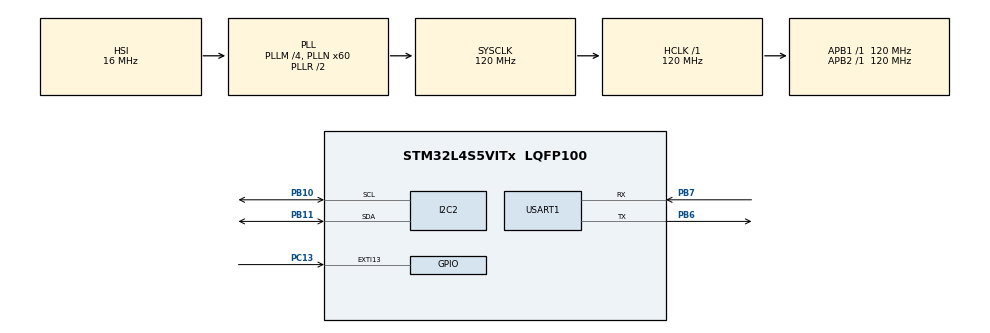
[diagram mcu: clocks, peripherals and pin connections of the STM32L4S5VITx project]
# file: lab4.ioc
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I2C2.Timing=0x00303D5B
Mcu.Family=STM32L4
Mcu.Name=STM32L4S5VITx
Mcu.Package=LQFP100
NVIC.EXTI15_10_IRQn=true\:0\:0\:false\:false\:true\:true\:true\:true
NVIC.PriorityGroup=NVIC_PRIORITYGROUP_4
NVIC.TIM2_IRQn=true\:0\:0\:false\:false\:true\:true\:true\:true
PA13\ (JTMS/SWDIO).Mode=Trace_Asynchronous_SW
PA13\ (JTMS/SWDIO).Signal=SYS_JTMS-SWDIO
PA14\ (JTCK/SWCLK).Mode=Trace_Asynchronous_SW
PA14\ (JTCK/SWCLK).Signal=SYS_JTCK-SWCLK
PB10.Mode=I2C
PB10.Signal=I2C2_SCL
PB11.Mode=I2C
PB11.Signal=I2C2_SDA
PB3\ (JTDO/TRACESWO).Mode=Trace_Asynchronous_SW
PB3\ (JTDO/TRACESWO).Signal=SYS_JTDO-SWO
PB6.Mode=Asynchronous
PB6.Signal=USART1_TX
PB7.Mode=Asynchronous
PB7.Signal=USART1_RX
PC13.Signal=GPXTI13
ProjectManager.HeapSize=0x200
ProjectManager.StackSize=0x400
ProjectManager.TargetToolchain=STM32CubeIDE
RCC.ADCFreq_Value=192000000
RCC.AHBFreq_Value=120000000
RCC.APB1Freq_Value=120000000
RCC.APB1TimFreq_Value=120000000
RCC.APB2Freq_Value=120000000
RCC.APB2TimFreq_Value=120000000
RCC.CortexFreq_Value=120000000
RCC.HCLKFreq_Value=120000000
RCC.HSE_VALUE=8000000
RCC.HSI48_VALUE=48000000
RCC.HSI_VALUE=16000000
RCC.I2C2CLockSelection=RCC_I2C2CLKSOURCE_HSI
RCC.LSE_VALUE=32768
RCC.MSI_VALUE=4000000
RCC.PLLM1=4
RCC.PLLN=60
RCC.PLLSAI1N=24
RCC.PLLSourceVirtual=RCC_PLLSOURCE_HSI
RCC.SYSCLKFreq_VALUE=120000000
RCC.SYSCLKSource=RCC_SYSCLKSOURCE_PLLCLK
RCC.USART1CLockSelection=RCC_USART1CLKSOURCE_HSI
RCC.USBFreq_Value=192000000
RCC.VCOOutputFreq_Value=240000000
TIM2.Period=10000
TIM2.Prescaler=1200
USART1.VirtualMode-Asynchronous=VM_ASYNC
VP_TIM2_VS_ClockSourceINT.Mode=Internal
board=B-L4S5I-IOT01A

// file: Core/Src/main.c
/* USER CODE BEGIN Header */
/**
  ******************************************************************************
  * @file           : main.c
  * @brief          : Main program body
  ******************************************************************************
  * @attention
  *
  * Copyright (c) 2022 STMicroelectronics.
  * All rights reserved.
  *
  * This software is licensed under terms that can be found in the LICENSE file
  * in the root directory of this software component.
  * If no LICENSE file comes with this software, it is provided AS-IS.
  *
  ******************************************************************************
  */
/* USER CODE END Header */
#include "main.h"

 I2C_HandleTypeDef hi2c2;

TIM_HandleTypeDef htim2;

UART_HandleTypeDef huart1;

/* USER CODE BEGIN PV */
char uart_buffer[100];
int16_t magneto_value[3];
uint8_t cur_sensor;

uint32_t temp_status;
uint32_t humid_status;
uint32_t pres_status;
MAGNETO_StatusTypeDef mag_status;
/* USER CODE END PV */

void SystemClock_Config(void);
static void MX_GPIO_Init(void);
static void MX_I2C2_Init(void);
static void MX_TIM2_Init(void);
static void MX_USART1_UART_Init(void);
/* USER CODE BEGIN PFP */
static uint16_t str_buffer_size(void);
/* USER CODE END PFP */

/* USER CODE BEGIN 0 */
void HAL_GPIO_EXTI_Callback(uint16_t GPIO_Pin) {
	if (GPIO_Pin == GPIO_PIN_13) {
		cur_sensor++;
		if (cur_sensor >= 4) {
			cur_sensor = 0;
		}
	}
}

void HAL_TIM_PeriodElapsedCallback(TIM_HandleTypeDef * htim) {
	if (htim->Instance == TIM2) {
		memset(uart_buffer, 0, 100);
		switch (cur_sensor) {
		case 0: {
			// temp
			float temp_reading = BSP_TSENSOR_ReadTemp();
			sprintf(uart_buffer, "Temperature: %f \r\n", temp_reading);
		} break;

		case 1: {
			// humidity
			float humid_reading = BSP_HSENSOR_ReadHumidity();
			sprintf(uart_buffer, "Humidity: %f \r\n", humid_reading);
		} break;

		case 2: {
			// pressure
			float pres_reading = BSP_PSENSOR_ReadPressure();
			sprintf(uart_buffer, "Pressure: %f \r\n", pres_reading);
		} break;

		case 3: {
			// magneto
			BSP_MAGNETO_GetXYZ(magneto_value);
			sprintf(uart_buffer, "Magneto: X=%d\tY=%d\tZ=%d \r\n", magneto_value[0], magneto_value[1], magneto_value[2]);
		} break;

		default: {
			cur_sensor = 0;
		}
		}
		HAL_UART_Transmit(&huart1, (uint8_t*) uart_buffer, 100, 20);
	}
}
/* USER CODE END 0 */

int main(void)
{

  /* MCU Configuration--------------------------------------------------------*/

  /* Reset of all peripherals, Initializes the Flash interface and the Systick. */
  HAL_Init();

  /* Configure the system clock */
  SystemClock_Config();

  /* Initialize all configured peripherals */
  MX_GPIO_Init();
  MX_I2C2_Init();
  MX_TIM2_Init();
  MX_USART1_UART_Init();
  /* USER CODE BEGIN 2 */
  // initialise sensors
  cur_sensor = 0;
  memset(uart_buffer, 0, 100);

  temp_status = BSP_TSENSOR_Init();

  if (temp_status == 0) {
	  strcpy(uart_buffer, "The temperature sensor is successfully initialised.\r\n");
  } else {
	  strcpy(uart_buffer, "Initialisation for the temperature sensor failed.\r\n");
  }
  HAL_UART_Transmit(&huart1, (uint8_t*) uart_buffer, 100, 20);

  humid_status = BSP_HSENSOR_Init();
  memset(uart_buffer, 0, 100);
  if (humid_status == 0) {
	  strcpy(uart_buffer, "The humidity sensor is successfully initialised.\r\n");
  } else {
	  strcpy(uart_buffer, "Initialisation for the humidity sensor failed.\r\n");
  }
  HAL_UART_Transmit(&huart1, (uint8_t*) uart_buffer, 100, 20);

  pres_status = BSP_PSENSOR_Init();
  memset(uart_buffer, 0, 100);
  if (pres_status == 0) {
	  strcpy(uart_buffer, "The pressure sensor is successfully initialised.\r\n");
  } else {
	  strcpy(uart_buffer, "Initialisation for the pressure sensor failed.\r\n");
  }
  HAL_UART_Transmit(&huart1, (uint8_t*) uart_buffer, 100, 20);

  mag_status = BSP_MAGNETO_Init();
  memset(uart_buffer, 0, 100);
  if (mag_status == MAGNETO_OK) {
	  strcpy(uart_buffer, "The magneto sensor is successfully initialised.\r\n");
  } else {
	  strcpy(uart_buffer, "Initialisation for the magneto sensor failed.\r\n");
  }
  HAL_UART_Transmit(&huart1, (uint8_t*) uart_buffer, 100, 20);

  // start timer interrupt
  HAL_TIM_Base_Start_IT(&htim2);
  /* USER CODE END 2 */

  /* Infinite loop */
  while (1)
  {

  }
}

void SystemClock_Config(void)
{
  RCC_OscInitTypeDef RCC_OscInitStruct = {0};
  RCC_ClkInitTypeDef RCC_ClkInitStruct = {0};

  /** Configure the main internal regulator output voltage
  */
  if (HAL_PWREx_ControlVoltageScaling(PWR_REGULATOR_VOLTAGE_SCALE1_BOOST) != HAL_OK)
  {
    Error_Handler();
  }

  /** Initializes the RCC Oscillators according to the specified parameters
  * in the RCC_OscInitTypeDef structure.
  */
  RCC_OscInitStruct.OscillatorType = RCC_OSCILLATORTYPE_HSI;
  RCC_OscInitStruct.HSIState = RCC_HSI_ON;
  RCC_OscInitStruct.HSICalibrationValue = RCC_HSICALIBRATION_DEFAULT;
  RCC_OscInitStruct.PLL.PLLState = RCC_PLL_ON;
  RCC_OscInitStruct.PLL.PLLSource = RCC_PLLSOURCE_HSI;
  RCC_OscInitStruct.PLL.PLLM = 4;
  RCC_OscInitStruct.PLL.PLLN = 60;
  RCC_OscInitStruct.PLL.PLLP = RCC_PLLP_DIV2;
  RCC_OscInitStruct.PLL.PLLQ = RCC_PLLQ_DIV2;
  RCC_OscInitStruct.PLL.PLLR = RCC_PLLR_DIV2;
  if (HAL_RCC_OscConfig(&RCC_OscInitStruct) != HAL_OK)
  {
    Error_Handler();
  }

  /** Initializes the CPU, AHB and APB buses clocks
  */
  RCC_ClkInitStruct.ClockType = RCC_CLOCKTYPE_HCLK|RCC_CLOCKTYPE_SYSCLK
                              |RCC_CLOCKTYPE_PCLK1|RCC_CLOCKTYPE_PCLK2;
  RCC_ClkInitStruct.SYSCLKSource = RCC_SYSCLKSOURCE_PLLCLK;
  RCC_ClkInitStruct.AHBCLKDivider = RCC_SYSCLK_DIV1;
  RCC_ClkInitStruct.APB1CLKDivider = RCC_HCLK_DIV1;
  RCC_ClkInitStruct.APB2CLKDivider = RCC_HCLK_DIV1;

  if (HAL_RCC_ClockConfig(&RCC_ClkInitStruct, FLASH_LATENCY_5) != HAL_OK)
  {
    Error_Handler();
  }
}

static void MX_I2C2_Init(void)
{

  hi2c2.Instance = I2C2;
  hi2c2.Init.Timing = 0x00303D5B;
  hi2c2.Init.OwnAddress1 = 0;
  hi2c2.Init.AddressingMode = I2C_ADDRESSINGMODE_7BIT;
  hi2c2.Init.DualAddressMode = I2C_DUALADDRESS_DISABLE;
  hi2c2.Init.OwnAddress2 = 0;
  hi2c2.Init.OwnAddress2Masks = I2C_OA2_NOMASK;
  hi2c2.Init.GeneralCallMode = I2C_GENERALCALL_DISABLE;
  hi2c2.Init.NoStretchMode = I2C_NOSTRETCH_DISABLE;
  if (HAL_I2C_Init(&hi2c2) != HAL_OK)
  {
    Error_Handler();
  }

  /** Configure Analogue filter
  */
  if (HAL_I2CEx_ConfigAnalogFilter(&hi2c2, I2C_ANALOGFILTER_ENABLE) != HAL_OK)
  {
    Error_Handler();
  }

  /** Configure Digital filter
  */
  if (HAL_I2CEx_ConfigDigitalFilter(&hi2c2, 0) != HAL_OK)
  {
    Error_Handler();
  }

}

static void MX_TIM2_Init(void)
{

  TIM_ClockConfigTypeDef sClockSourceConfig = {0};
  TIM_MasterConfigTypeDef sMasterConfig = {0};

  htim2.Instance = TIM2;
  htim2.Init.Prescaler = 1200;
  htim2.Init.CounterMode = TIM_COUNTERMODE_UP;
  htim2.Init.Period = 10000;
  htim2.Init.ClockDivision = TIM_CLOCKDIVISION_DIV1;
  htim2.Init.AutoReloadPreload = TIM_AUTORELOAD_PRELOAD_DISABLE;
  if (HAL_TIM_Base_Init(&htim2) != HAL_OK)
  {
    Error_Handler();
  }
  sClockSourceConfig.ClockSource = TIM_CLOCKSOURCE_INTERNAL;
  if (HAL_TIM_ConfigClockSource(&htim2, &sClockSourceConfig) != HAL_OK)
  {
    Error_Handler();
  }
  sMasterConfig.MasterOutputTrigger = TIM_TRGO_RESET;
  sMasterConfig.MasterSlaveMode = TIM_MASTERSLAVEMODE_DISABLE;
  if (HAL_TIMEx_MasterConfigSynchronization(&htim2, &sMasterConfig) != HAL_OK)
  {
    Error_Handler();
  }

}

static void MX_USART1_UART_Init(void)
{

  huart1.Instance = USART1;
  huart1.Init.BaudRate = 115200;
  huart1.Init.WordLength = UART_WORDLENGTH_8B;
  huart1.Init.StopBits = UART_STOPBITS_1;
  huart1.Init.Parity = UART_PARITY_NONE;
  huart1.Init.Mode = UART_MODE_TX_RX;
  huart1.Init.HwFlowCtl = UART_HWCONTROL_NONE;
  huart1.Init.OverSampling = UART_OVERSAMPLING_16;
  huart1.Init.OneBitSampling = UART_ONE_BIT_SAMPLE_DISABLE;
  huart1.Init.ClockPrescaler = UART_PRESCALER_DIV1;
  huart1.AdvancedInit.AdvFeatureInit = UART_ADVFEATURE_NO_INIT;
  if (HAL_UART_Init(&huart1) != HAL_OK)
  {
    Error_Handler();
  }
  if (HAL_UARTEx_SetTxFifoThreshold(&huart1, UART_TXFIFO_THRESHOLD_1_8) != HAL_OK)
  {
    Error_Handler();
  }
  if (HAL_UARTEx_SetRxFifoThreshold(&huart1, UART_RXFIFO_THRESHOLD_1_8) != HAL_OK)
  {
    Error_Handler();
  }
  if (HAL_UARTEx_DisableFifoMode(&huart1) != HAL_OK)
  {
    Error_Handler();
  }

}

static void MX_GPIO_Init(void)
{
  GPIO_InitTypeDef GPIO_InitStruct = {0};

  /* GPIO Ports Clock Enable */
  __HAL_RCC_GPIOC_CLK_ENABLE();
  __HAL_RCC_GPIOB_CLK_ENABLE();
  __HAL_RCC_GPIOA_CLK_ENABLE();

  /*Configure GPIO pin : PC13 */
  GPIO_InitStruct.Pin = GPIO_PIN_13;
  GPIO_InitStruct.Mode = GPIO_MODE_IT_RISING;
  GPIO_InitStruct.Pull = GPIO_NOPULL;
  HAL_GPIO_Init(GPIOC, &GPIO_InitStruct);

  /* EXTI interrupt init*/
  HAL_NVIC_SetPriority(EXTI15_10_IRQn, 0, 0);
  HAL_NVIC_EnableIRQ(EXTI15_10_IRQn);

}

void Error_Handler(void)
{
  __disable_irq();
  while (1)
  {
  }
}
